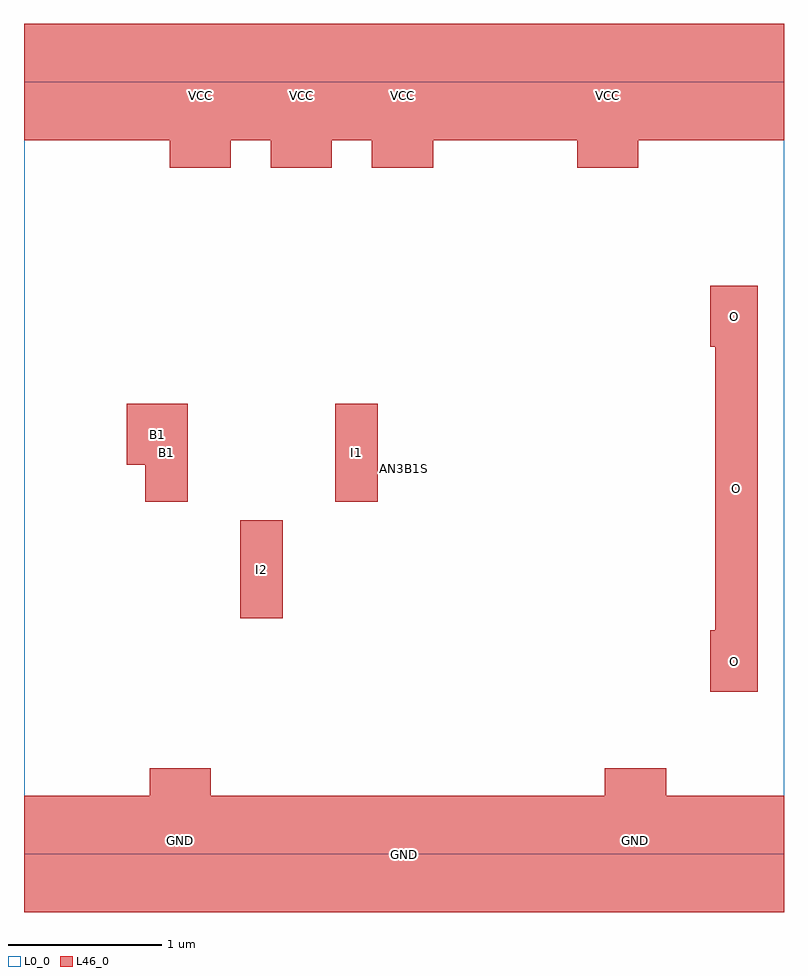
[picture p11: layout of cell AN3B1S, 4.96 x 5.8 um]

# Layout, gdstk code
import gdstk
lib = gdstk.Library(unit=1e-6, precision=1e-09)
def R(c, l, rs):  # rectangles x0, y0, x1, y1
    for r in rs: c.add(gdstk.rectangle(r[:2], r[2:], *l))
def A(c, l, x, y, w, h, nx, ny, dx, dy):  # array of equal rectangles
    R(c, l, [(x+i*dx, y+j*dy, x+i*dx+w, y+j*dy+h) for i in range(nx) for j in range(ny)])
L0_0 = (0, 0)
L46_0 = (46, 0)

an3b1s = lib.new_cell('AN3B1S')
R(an3b1s, L0_0, [(0,0,4.96,5.04)])
A(an3b1s, L46_0, 0.95, 4.48, 0.4, 0.94, 3, 1, 0.66, 0)
R(an3b1s, L46_0, [(0,-0.38,4.96,0.38), (0.82,-0.38,1.22,0.56), (3.79,-0.38,4.19,0.56), (4.48,1.06,4.79,1.46), (4.51,1.06,4.79,3.71), (1.41,1.54,1.69,2.18), (0.79,2.3,1.07,2.94), (2.03,2.3,2.31,2.94), (0.67,2.54,1.07,2.94), (4.48,3.31,4.79,3.71), (3.61,4.48,4.01,5.42), (0,4.66,4.96,5.42)])
an3b1s.add(gdstk.Label('AN3B1S', (2.48,2.52), layer=0, texttype=0))
an3b1s.add(gdstk.Label('O', (4.65,2.385), layer=101, texttype=0))
an3b1s.add(gdstk.Label('O', (4.635,3.51), layer=101, texttype=0))
an3b1s.add(gdstk.Label('O', (4.635,1.26), layer=101, texttype=0))
an3b1s.add(gdstk.Label('I2', (1.55,1.86), layer=101, texttype=0))
an3b1s.add(gdstk.Label('I1', (2.17,2.62), layer=101, texttype=0))
an3b1s.add(gdstk.Label('B1', (0.87,2.74), layer=101, texttype=0))
an3b1s.add(gdstk.Label('B1', (0.93,2.62), layer=101, texttype=0))
an3b1s.add(gdstk.Label('GND', (3.99,0.09), layer=101, texttype=0))
an3b1s.add(gdstk.Label('GND', (2.48,0), layer=101, texttype=0))
an3b1s.add(gdstk.Label('GND', (1.02,0.09), layer=101, texttype=0))
an3b1s.add(gdstk.Label('VCC', (1.81,4.95), layer=101, texttype=0))
an3b1s.add(gdstk.Label('VCC', (2.47,4.95), layer=101, texttype=0))
an3b1s.add(gdstk.Label('VCC', (3.81,4.95), layer=101, texttype=0))
an3b1s.add(gdstk.Label('VCC', (2.48,5.04), layer=101, texttype=0))
an3b1s.add(gdstk.Label('VCC', (1.15,4.95), layer=101, texttype=0))

lib.write_gds('AN3B1S.gds')
